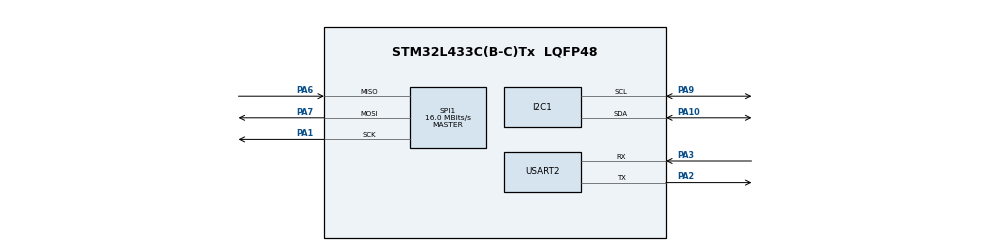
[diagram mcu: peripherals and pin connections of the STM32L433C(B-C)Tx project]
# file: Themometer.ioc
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I2C1.Timing=0x00707CBB
Mcu.Family=STM32L4
Mcu.Name=STM32L433C(B-C)Tx
Mcu.Package=LQFP48
NVIC.I2C1_ER_IRQn=true\:0\:0\:false\:false\:true\:true\:true
NVIC.I2C1_EV_IRQn=true\:0\:0\:false\:false\:true\:true\:true
NVIC.PriorityGroup=NVIC_PRIORITYGROUP_4
NVIC.SPI1_IRQn=true\:0\:0\:false\:false\:true\:true\:true
NVIC.USART2_IRQn=true\:0\:0\:false\:false\:true\:true\:true
PA1.Mode=Full_Duplex_Master
PA1.Signal=SPI1_SCK
PA10.Mode=I2C
PA10.Signal=I2C1_SDA
PA2.Mode=Asynchronous
PA2.Signal=USART2_TX
PA3.Mode=Asynchronous
PA3.Signal=USART2_RX
PA6.Mode=Full_Duplex_Master
PA6.Signal=SPI1_MISO
PA7.Mode=Full_Duplex_Master
PA7.Signal=SPI1_MOSI
PA9.Mode=I2C
PA9.Signal=I2C1_SCL
ProjectManager.HeapSize=0x200
ProjectManager.StackSize=0x400
ProjectManager.TargetToolchain=STM32CubeIDE
RCC.ADCFreq_Value=64000000
RCC.AHBCLKDivider=RCC_SYSCLK_DIV2
RCC.AHBFreq_Value=32000000
RCC.APB1Freq_Value=32000000
RCC.APB1TimFreq_Value=32000000
RCC.APB2Freq_Value=32000000
RCC.APB2TimFreq_Value=32000000
RCC.CortexFreq_Value=32000000
RCC.HCLKFreq_Value=32000000
RCC.HSE_VALUE=8000000
RCC.HSI48_VALUE=48000000
RCC.HSI_VALUE=16000000
RCC.LSE_VALUE=32768
RCC.MSI_VALUE=4000000
RCC.PLLSourceVirtual=RCC_PLLSOURCE_HSI
RCC.SYSCLKFreq_VALUE=64000000
RCC.SYSCLKSource=RCC_SYSCLKSOURCE_PLLCLK
RCC.USBFreq_Value=64000000
RCC.VCOOutputFreq_Value=128000000
SPI1.CalculateBaudRate=16.0 MBits/s
SPI1.Direction=SPI_DIRECTION_2LINES
SPI1.Mode=SPI_MODE_MASTER
SPI1.VirtualType=VM_MASTER
USART2.VirtualMode-Asynchronous=VM_ASYNC
board=custom

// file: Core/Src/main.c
/* USER CODE BEGIN Header */
/**
  ******************************************************************************
  * @file           : main.c
  * @brief          : Main program body
  ******************************************************************************
  * @attention
  *
  * <h2><center>&copy; Copyright (c) 2020 STMicroelectronics.
  * All rights reserved.</center></h2>
  *
  * This software component is licensed by ST under BSD 3-Clause license,
  * the "License"; You may not use this file except in compliance with the
  * License. You may obtain a copy of the License at:
  *                        opensource.org/licenses/BSD-3-Clause
  *
  ******************************************************************************
  */
/* USER CODE END Header */

#include "main.h"
#include "stdio.h"
#include<math.h>
/* USER CODE BEGIN Includes */
/* USER CODE END PFP */

/* USER CODE END Includes */

UART_HandleTypeDef huart2;

/* USER CODE BEGIN PV */
float tempc , humi;
/* USER CODE END PV */

/* MASTER_BOARD */
/**
  * @brief Timeout value
  */
uint32_t Timeout = 0; /* Variable used for Timeout management */
#define I2C_SEND_TIMEOUT_RXNE_MS      5
#define I2C_SEND_TIMEOUT_TXIS_MS	  5
#define I2C_SEND_TIMEOUT_SB_MS        5
#define I2C_SEND_TIMEOUT_ADDR_MS      5
const uint8_t data[2]          = {0x2C,0x06};
//static uint8_t data[2]          = {0x2C,0x06};
__IO uint8_t  ubNbDataToTransmit = sizeof(data);
uint8_t*      pTransmitBuffer  = (uint8_t*)data;

/* SLAVE_BOARD */
uint8_t      ReceiveBuffer[6] = {0};
__IO uint8_t  ubNbDataToReceive = sizeof(ReceiveBuffer);
__IO uint8_t Index      = 0;

void SystemClock_Config(void);
static void MX_GPIO_Init(void);
static void MX_I2C1_Init(void);
static void MX_SPI1_Init(void);
static void MX_USART2_UART_Init(void);
void read_sht(void);
/* USER CODE BEGIN PFP */
#ifndef INC_PRINTF_RETARGET_H_

int __io_putchar(int ch);
int _write(int file,char *ptr, int len);

#define INC_PRINTF_RETARGET_H_

#endif /* INC_PRINTF_RETARGET_H_ */

/* (Re)Define stdio functionality, so printf would output to USART1 */
int __io_putchar(int ch) {
 uint8_t c[1];
 c[0] = ch & 0x00FF;
 HAL_UART_Transmit(&huart2, &c[0], 1, 100);
 return ch;
}

int _write(int file,char *ptr, int len) {
 int DataIdx;
 for(DataIdx= 0; DataIdx< len; DataIdx++) {
  __io_putchar(*ptr++);
 }
 return len;
}

/* USER CODE END PFP */

int main(void)
{

  /* MCU Configuration--------------------------------------------------------*/

  /* Reset of all peripherals, Initializes the Flash interface and the Systick. */
  HAL_Init();

  /* Configure the system clock */
  SystemClock_Config();

  /* Initialize all configured peripherals */
  MX_GPIO_Init();
  MX_I2C1_Init();
  MX_SPI1_Init();
  MX_USART2_UART_Init();
  /* USER CODE BEGIN 2 */
  Timeout = I2C_SEND_TIMEOUT_TXIS_MS;

  /* Loop until STOP flag is raised  */

  /* USER CODE END 2 */

  /* Infinite loop */
  /* USER CODE BEGIN WHILE */
  while (1)
  {
	  MX_I2C1_Init();
	  read_sht();
      uint16_t TemperatureRaw 	= (ReceiveBuffer[0]<<8)+(ReceiveBuffer[1]<<0);
      uint16_t RelHumidityRaw 	= (ReceiveBuffer[3]<<8)+(ReceiveBuffer[4]<<0);
      //Send Data to UART
      tempc =	((float) TemperatureRaw) * 0.00267033 - 45.;
      humi =	((float) RelHumidityRaw) * 0.0015259;
      printf("%.1f%.1f\r\n",tempc,humi);
      LL_GPIO_TogglePin(GPIOA, LL_GPIO_PIN_3);
      LL_mDelay(100);
      LL_GPIO_TogglePin(GPIOA, LL_GPIO_PIN_3);
    /* USER CODE END WHILE */
  }
}

void timeout(void)
{
	  while(!LL_I2C_IsActiveFlag_STOP(I2C1))
	  {
	    /* (2.1) Transmit data (TXIS flag raised) *********************************/
	    /* Check TXIS flag value in ISR register */
	    if(LL_I2C_IsActiveFlag_TXIS(I2C1))
	    {
	      /* Write data in Transmit Data register.
	      TXIS flag is cleared by writing data in TXDR register */
	      LL_I2C_TransmitData8(I2C1, (*pTransmitBuffer++));
	      Timeout = I2C_SEND_TIMEOUT_TXIS_MS;
	    }
	    /* Check Systick counter flag to decrement the time-out value */
	    if (LL_SYSTICK_IsActiveCounterFlag())
	    {
	      if(Timeout-- == 0)
	      {
	        /* Time-out occurred. Set LED2 to blinking mode */
	    	  printf("ERROR\r\n");
	      }
	    }
	  }
}

void read_sht(void)
{
	  LL_mDelay(1000);
	  LL_I2C_Enable(I2C1);
	  LL_I2C_HandleTransfer(I2C1, 0x88, LL_I2C_ADDRSLAVE_7BIT, ubNbDataToTransmit, LL_I2C_MODE_AUTOEND, LL_I2C_GENERATE_START_WRITE);
	  while(!LL_I2C_IsActiveFlag_STOP(I2C1))
	  {
		  if(LL_I2C_IsActiveFlag_TXIS(I2C1))
		  {
			  LL_I2C_TransmitData8(I2C1, 0x2C);
			  LL_I2C_TransmitData8(I2C1, 0x06);
		  }
	  }
	  LL_I2C_ClearFlag_STOP(I2C1);
	  LL_I2C_HandleTransfer(I2C1, 0x89, LL_I2C_ADDRSLAVE_7BIT, ubNbDataToReceive, LL_I2C_MODE_AUTOEND, LL_I2C_GENERATE_START_READ);
	  while(!LL_I2C_IsActiveFlag_STOP(I2C1))
	  {
		  if(LL_I2C_IsActiveFlag_RXNE(I2C1))
		  {
			 ReceiveBuffer[Index++] = LL_I2C_ReceiveData8(I2C1);
		  }
	  }
	 Index = 0;
	 LL_I2C_ClearFlag_STOP(I2C1);
	 LL_I2C_Disable(I2C1);
}
void SystemClock_Config(void)
{
  LL_FLASH_SetLatency(LL_FLASH_LATENCY_1);

  if(LL_FLASH_GetLatency() != LL_FLASH_LATENCY_1)
  {
  Error_Handler();
  }
  LL_PWR_SetRegulVoltageScaling(LL_PWR_REGU_VOLTAGE_SCALE1);
  LL_RCC_HSI_Enable();

   /* Wait till HSI is ready */
  while(LL_RCC_HSI_IsReady() != 1)
  {

  }
  LL_RCC_HSI_SetCalibTrimming(16);
  LL_RCC_PLL_ConfigDomain_SYS(LL_RCC_PLLSOURCE_HSI, LL_RCC_PLLM_DIV_1, 8, LL_RCC_PLLR_DIV_2);
  LL_RCC_PLL_EnableDomain_SYS();
  LL_RCC_PLL_Enable();

   /* Wait till PLL is ready */
  while(LL_RCC_PLL_IsReady() != 1)
  {

  }
  LL_RCC_SetSysClkSource(LL_RCC_SYS_CLKSOURCE_PLL);

   /* Wait till System clock is ready */
  while(LL_RCC_GetSysClkSource() != LL_RCC_SYS_CLKSOURCE_STATUS_PLL)
  {

  }
  LL_RCC_SetAHBPrescaler(LL_RCC_SYSCLK_DIV_2);
  LL_RCC_SetAPB1Prescaler(LL_RCC_APB1_DIV_1);
  LL_RCC_SetAPB2Prescaler(LL_RCC_APB2_DIV_1);
  LL_SetSystemCoreClock(32000000);

   /* Update the time base */
  if (HAL_InitTick (TICK_INT_PRIORITY) != HAL_OK)
  {
    Error_Handler();
  };
  LL_RCC_SetUSARTClockSource(LL_RCC_USART2_CLKSOURCE_PCLK1);
  LL_RCC_SetI2CClockSource(LL_RCC_I2C1_CLKSOURCE_PCLK1);
}

static void MX_I2C1_Init(void)
{

  LL_I2C_InitTypeDef I2C_InitStruct = {0};

  LL_GPIO_InitTypeDef GPIO_InitStruct = {0};

  LL_AHB2_GRP1_EnableClock(LL_AHB2_GRP1_PERIPH_GPIOA);
  /**I2C1 GPIO Configuration
  PA9   ------> I2C1_SCL
  PA10   ------> I2C1_SDA
  */
  GPIO_InitStruct.Pin = LL_GPIO_PIN_9|LL_GPIO_PIN_10;
  GPIO_InitStruct.Mode = LL_GPIO_MODE_ALTERNATE;
  GPIO_InitStruct.Speed = LL_GPIO_SPEED_FREQ_VERY_HIGH;
  GPIO_InitStruct.OutputType = LL_GPIO_OUTPUT_OPENDRAIN;
  GPIO_InitStruct.Pull = LL_GPIO_PULL_UP;
  GPIO_InitStruct.Alternate = LL_GPIO_AF_4;
  LL_GPIO_Init(GPIOA, &GPIO_InitStruct);

  /**/
    LL_GPIO_ResetOutputPin(GPIOA, LL_GPIO_PIN_3);

    /**/
    GPIO_InitStruct.Pin = LL_GPIO_PIN_3;
    GPIO_InitStruct.Mode = LL_GPIO_MODE_OUTPUT;
    GPIO_InitStruct.Speed = LL_GPIO_SPEED_FREQ_HIGH;
    GPIO_InitStruct.OutputType = LL_GPIO_OUTPUT_PUSHPULL;
    GPIO_InitStruct.Pull = LL_GPIO_PULL_NO;
    LL_GPIO_Init(GPIOA, &GPIO_InitStruct);

  /* Peripheral clock enable */
  LL_APB1_GRP1_EnableClock(LL_APB1_GRP1_PERIPH_I2C1);

  /* I2C1 interrupt Init */
  NVIC_SetPriority(I2C1_EV_IRQn, NVIC_EncodePriority(NVIC_GetPriorityGrouping(),0, 0));
  NVIC_EnableIRQ(I2C1_EV_IRQn);
  NVIC_SetPriority(I2C1_ER_IRQn, NVIC_EncodePriority(NVIC_GetPriorityGrouping(),0, 0));
  NVIC_EnableIRQ(I2C1_ER_IRQn);

  /** I2C Initialization
  */
  LL_I2C_EnableAutoEndMode(I2C1);
  LL_I2C_DisableOwnAddress2(I2C1);
  LL_I2C_DisableGeneralCall(I2C1);
  LL_I2C_EnableClockStretching(I2C1);
  I2C_InitStruct.PeripheralMode = LL_I2C_MODE_I2C;
  I2C_InitStruct.Timing = 0x00707CBB;
  I2C_InitStruct.AnalogFilter = LL_I2C_ANALOGFILTER_ENABLE;
  I2C_InitStruct.DigitalFilter = 0;
  I2C_InitStruct.OwnAddress1 = 0;
  I2C_InitStruct.TypeAcknowledge = LL_I2C_ACK;
  I2C_InitStruct.OwnAddrSize = LL_I2C_OWNADDRESS1_7BIT;
  LL_I2C_Init(I2C1, &I2C_InitStruct);
  LL_I2C_SetOwnAddress2(I2C1, 0, LL_I2C_OWNADDRESS2_NOMASK);
  LL_I2C_Enable(I2C1);

}

static void MX_SPI1_Init(void)
{

  LL_SPI_InitTypeDef SPI_InitStruct = {0};

  LL_GPIO_InitTypeDef GPIO_InitStruct = {0};

  /* Peripheral clock enable */
  LL_APB2_GRP1_EnableClock(LL_APB2_GRP1_PERIPH_SPI1);

  LL_AHB2_GRP1_EnableClock(LL_AHB2_GRP1_PERIPH_GPIOA);
  /**SPI1 GPIO Configuration
  PA1   ------> SPI1_SCK
  PA6   ------> SPI1_MISO
  PA7   ------> SPI1_MOSI
  */
  GPIO_InitStruct.Pin = LL_GPIO_PIN_1|LL_GPIO_PIN_6|LL_GPIO_PIN_7;
  GPIO_InitStruct.Mode = LL_GPIO_MODE_ALTERNATE;
  GPIO_InitStruct.Speed = LL_GPIO_SPEED_FREQ_VERY_HIGH;
  GPIO_InitStruct.OutputType = LL_GPIO_OUTPUT_PUSHPULL;
  GPIO_InitStruct.Pull = LL_GPIO_PULL_NO;
  GPIO_InitStruct.Alternate = LL_GPIO_AF_5;
  LL_GPIO_Init(GPIOA, &GPIO_InitStruct);

  /* SPI1 interrupt Init */
  NVIC_SetPriority(SPI1_IRQn, NVIC_EncodePriority(NVIC_GetPriorityGrouping(),0, 0));
  NVIC_EnableIRQ(SPI1_IRQn);

  /* SPI1 parameter configuration*/
  SPI_InitStruct.TransferDirection = LL_SPI_FULL_DUPLEX;
  SPI_InitStruct.Mode = LL_SPI_MODE_MASTER;
  SPI_InitStruct.DataWidth = LL_SPI_DATAWIDTH_4BIT;
  SPI_InitStruct.ClockPolarity = LL_SPI_POLARITY_LOW;
  SPI_InitStruct.ClockPhase = LL_SPI_PHASE_1EDGE;
  SPI_InitStruct.NSS = LL_SPI_NSS_SOFT;
  SPI_InitStruct.BaudRate = LL_SPI_BAUDRATEPRESCALER_DIV2;
  SPI_InitStruct.BitOrder = LL_SPI_MSB_FIRST;
  SPI_InitStruct.CRCCalculation = LL_SPI_CRCCALCULATION_DISABLE;
  SPI_InitStruct.CRCPoly = 7;
  LL_SPI_Init(SPI1, &SPI_InitStruct);
  LL_SPI_SetStandard(SPI1, LL_SPI_PROTOCOL_MOTOROLA);
  LL_SPI_EnableNSSPulseMgt(SPI1);

}

static void MX_USART2_UART_Init(void)
{

  huart2.Instance = USART2;
  huart2.Init.BaudRate = 115200;
  huart2.Init.WordLength = UART_WORDLENGTH_8B;
  huart2.Init.StopBits = UART_STOPBITS_1;
  huart2.Init.Parity = UART_PARITY_NONE;
  huart2.Init.Mode = UART_MODE_TX_RX;
  huart2.Init.HwFlowCtl = UART_HWCONTROL_NONE;
  huart2.Init.OverSampling = UART_OVERSAMPLING_16;
  huart2.Init.OneBitSampling = UART_ONE_BIT_SAMPLE_DISABLE;
  huart2.AdvancedInit.AdvFeatureInit = UART_ADVFEATURE_NO_INIT;
  if (HAL_UART_Init(&huart2) != HAL_OK)
  {
    Error_Handler();
  }

}

static void MX_GPIO_Init(void)
{

}

void Error_Handler(void)
{
}

/************************ (C) COPYRIGHT STMicroelectronics *****END OF FILE****/
